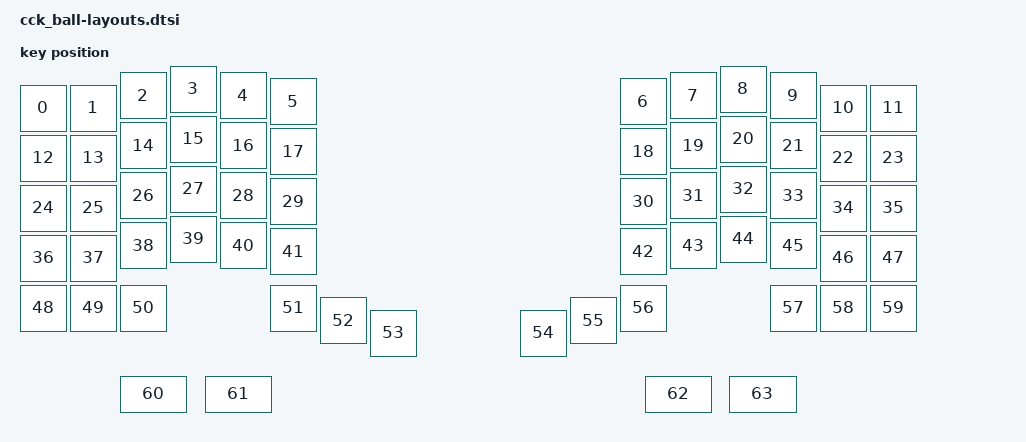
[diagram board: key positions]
#include <physical_layouts.dtsi>

/ {
    cck_ball_layouts: cck_ball_layouts {
        compatible = "zmk,physical-layout";
        display-name = "CCK 4x6 + Wheels L CW CCW | R CW CCW";
        kscan = <&kscan0>;
        transform = <&default_transform>;
        keys
            = <&key_physical_attrs 100 100    0   38 0 0 0>
            , <&key_physical_attrs 100 100  100   38 0 0 0>
            , <&key_physical_attrs 100 100  200   13 0 0 0>
            , <&key_physical_attrs 100 100  300    0 0 0 0>
            , <&key_physical_attrs 100 100  400   13 0 0 0>
            , <&key_physical_attrs 100 100  500   25 0 0 0>
            , <&key_physical_attrs 100 100 1200   25 0 0 0>
            , <&key_physical_attrs 100 100 1300   13 0 0 0>
            , <&key_physical_attrs 100 100 1400    0 0 0 0>
            , <&key_physical_attrs 100 100 1500   13 0 0 0>
            , <&key_physical_attrs 100 100 1600   38 0 0 0>
            , <&key_physical_attrs 100 100 1700   38 0 0 0>
            , <&key_physical_attrs 100 100    0  138 0 0 0>
            , <&key_physical_attrs 100 100  100  138 0 0 0>
            , <&key_physical_attrs 100 100  200  113 0 0 0>
            , <&key_physical_attrs 100 100  300  100 0 0 0>
            , <&key_physical_attrs 100 100  400  113 0 0 0>
            , <&key_physical_attrs 100 100  500  125 0 0 0>
            , <&key_physical_attrs 100 100 1200  125 0 0 0>
            , <&key_physical_attrs 100 100 1300  113 0 0 0>
            , <&key_physical_attrs 100 100 1400  100 0 0 0>
            , <&key_physical_attrs 100 100 1500  113 0 0 0>
            , <&key_physical_attrs 100 100 1600  138 0 0 0>
            , <&key_physical_attrs 100 100 1700  138 0 0 0>
            , <&key_physical_attrs 100 100    0  238 0 0 0>
            , <&key_physical_attrs 100 100  100  238 0 0 0>
            , <&key_physical_attrs 100 100  200  213 0 0 0>
            , <&key_physical_attrs 100 100  300  200 0 0 0>
            , <&key_physical_attrs 100 100  400  213 0 0 0>
            , <&key_physical_attrs 100 100  500  225 0 0 0>
            , <&key_physical_attrs 100 100 1200  225 0 0 0>
            , <&key_physical_attrs 100 100 1300  213 0 0 0>
            , <&key_physical_attrs 100 100 1400  200 0 0 0>
            , <&key_physical_attrs 100 100 1500  213 0 0 0>
            , <&key_physical_attrs 100 100 1600  238 0 0 0>
            , <&key_physical_attrs 100 100 1700  238 0 0 0>
            , <&key_physical_attrs 100 100    0  338 0 0 0>
            , <&key_physical_attrs 100 100  100  338 0 0 0>
            , <&key_physical_attrs 100 100  200  313 0 0 0>
            , <&key_physical_attrs 100 100  300  300 0 0 0>
            , <&key_physical_attrs 100 100  400  313 0 0 0>
            , <&key_physical_attrs 100 100  500  325 0 0 0>
            , <&key_physical_attrs 100 100 1200  325 0 0 0>
            , <&key_physical_attrs 100 100 1300  313 0 0 0>
            , <&key_physical_attrs 100 100 1400  300 0 0 0>
            , <&key_physical_attrs 100 100 1500  313 0 0 0>
            , <&key_physical_attrs 100 100 1600  338 0 0 0>
            , <&key_physical_attrs 100 100 1700  338 0 0 0>
            , <&key_physical_attrs 100 100    0  438 0 0 0>
            , <&key_physical_attrs 100 100  100  438 0 0 0>
            , <&key_physical_attrs 100 100  200  438 0 0 0>
            , <&key_physical_attrs 100 100  500  438 0 0 0>
            , <&key_physical_attrs 100 100  600  463 0 0 0>
            , <&key_physical_attrs 100 100  700  488 0 0 0>
            , <&key_physical_attrs 100 100 1000  488 0 0 0>
            , <&key_physical_attrs 100 100 1100  463 0 0 0>
            , <&key_physical_attrs 100 100 1200  438 0 0 0>
            , <&key_physical_attrs 100 100 1500  438 0 0 0>
            , <&key_physical_attrs 100 100 1600  438 0 0 0>
            , <&key_physical_attrs 100 100 1700  438 0 0 0>
            , <&key_physical_attrs 140 80  200 620 0 0 0>
            , <&key_physical_attrs 140 80  370 620 0 0 0>
            , <&key_physical_attrs 140 80 1250 620 0 0 0>
            , <&key_physical_attrs 140 80 1420 620 0 0 0>
            ;
    };
};
